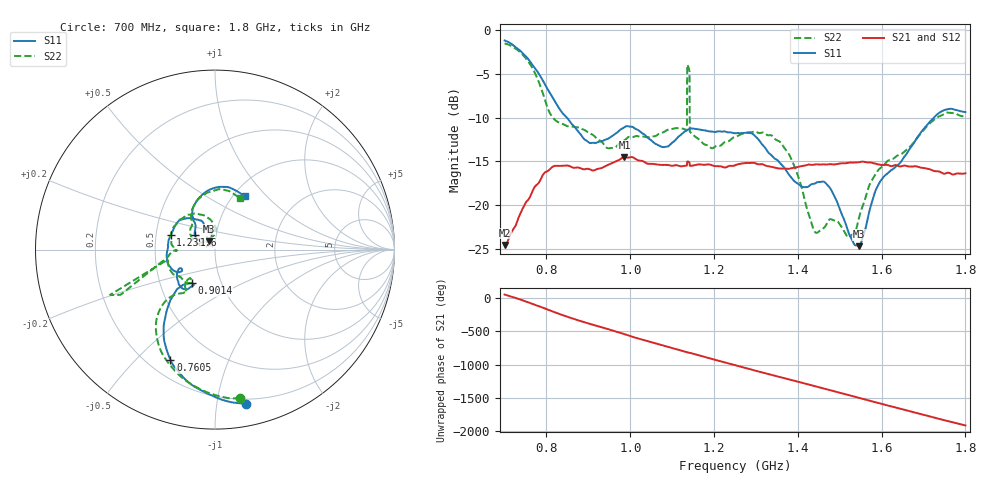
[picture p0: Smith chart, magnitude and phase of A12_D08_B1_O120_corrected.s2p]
! Created with skrf 1.9.0 (http://scikit-rf.org).
# Hz S RI R 50.0
!freq ReS11 ImS11 ReS21 ImS21 ReS12 ImS12 ReS22 ImS22
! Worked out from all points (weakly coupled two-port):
!   1601 points, 700 MHz to 1.8 GHz, reference 50 ohm
!   highest |S21| = -14.50 dB at 986 MHz (marker M1); lowest = -24.6 dB at 700.7 MHz (marker M2)
!   lowest |S11| = -24.7 dB at 1.546 GHz (marker M3), VSWR 1.12, Z = 46.6 + j4.5 ohm
!   |S11| at or under -10 dB: 848.6 MHz to 1.725 GHz (876 MHz wide, 68.1 % of centre)
!   |S22| runs from -23.7 to -1.5 dB; largest |S21 - S12| = 0.0037
!   S11 on the Smith chart (normalised r, x): 700 MHz: 0.17, -1.21; 760.5 MHz: 0.29, -0.64; 901.4 MHz: 0.72, -0.28; 1.239 GHz: 0.60, +0.11; 1.6 GHz: 0.79, +0.13; 1.8 GHz: 1.13, +0.76
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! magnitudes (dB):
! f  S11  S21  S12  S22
! 700 MHz  -1.2  -24.6  -24.4  -1.5
! 700.7 MHz  -1.2  -24.6  -24.3  -1.5
! 760.5 MHz  -3.6  -19.1  -19.0  -3.9
! 815.5 MHz  -7.8  -15.6  -15.7  -10.0
! 883.6 MHz  -12.0  -15.9  -15.8  -11.3
! 901.4 MHz  -12.9  -15.9  -15.9  -11.8
! 986 MHz  -11.1  -14.5  -14.6  -12.6
! 1.067 GHz  -13.2  -15.4  -15.3  -11.9
! 1.13 GHz  -11.6  -15.5  -15.6  -11.3
! 1.136 GHz  -11.4  -15.0  -15.0  -3.9
! 1.148 GHz  -11.2  -15.5  -15.5  -11.8
! 1.239 GHz  -11.7  -15.5  -15.6  -12.6
! 1.25 GHz  -11.8  -15.5  -15.4  -12.2
! 1.359 GHz  -15.3  -15.8  -15.8  -12.9
! 1.434 GHz  -17.6  -15.4  -15.4  -22.2
! 1.475 GHz  -17.9  -15.3  -15.4  -21.7
! 1.522 GHz  -23.3  -15.2  -15.2  -23.7
! 1.546 GHz  -24.7  -15.1  -15.1  -21.6
! 1.6 GHz  -17.1  -15.4  -15.4  -15.7
! 1.617 GHz  -16.3  -15.5  -15.4  -14.9
! 1.734 GHz  -9.6  -16.1  -16.2  -9.9
! 1.8 GHz  -9.4  -16.4  -16.4  -10.0
